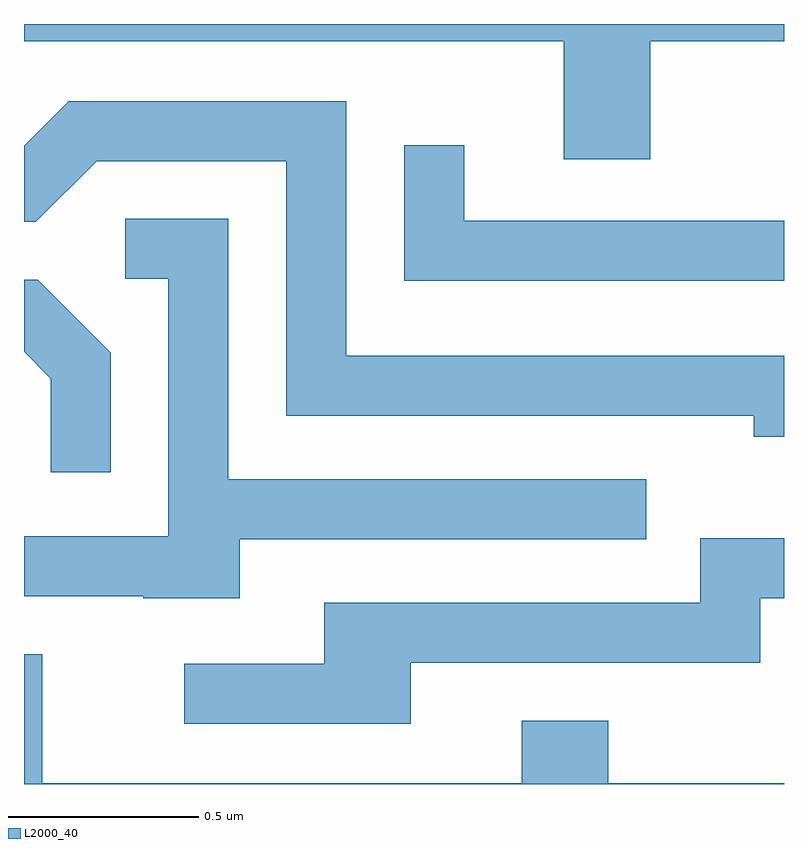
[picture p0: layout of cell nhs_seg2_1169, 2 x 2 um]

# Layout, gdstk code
import gdstk
lib = gdstk.Library(unit=1e-6, precision=1e-09)
def P(c, l, *ps):  # polygons
    for p in ps: c.add(gdstk.Polygon(p, *l))
L2000_40 = (2000, 40)

nhs_seg2_1169 = lib.new_cell('nhs_seg2_1169')
P(nhs_seg2_1169, L2000_40, [(195.259,1052.756),(195.611,1052.756),(195.611,1052.802),(193.611,1052.802),(193.611,1052.756),(195.031,1052.756),(195.031,1052.446),(195.259,1052.446)],
  [(195.611,1051.929),(194.459,1051.929),(194.459,1052.599),(193.729,1052.599),(193.611,1052.481),(193.611,1052.281),(193.642,1052.281),(193.802,1052.441),(194.301,1052.441),(194.301,1051.771),(195.531,1051.771),(195.531,1051.716),(195.611,1051.716)],
  [(195.611,1052.284),(194.769,1052.284),(194.769,1052.483),(194.611,1052.483),(194.611,1052.126),(195.611,1052.126)],
  [(194.179,1051.446),(195.248,1051.446),(195.248,1051.604),(194.149,1051.604),(194.149,1052.289),(193.878,1052.289),(193.878,1052.131),(193.991,1052.131),(193.991,1051.454),(193.611,1051.454),(193.611,1051.296),(193.925,1051.296),(193.925,1051.291),(194.179,1051.291)],
  [(193.839,1051.937),(193.647,1052.129),(193.611,1052.129),(193.611,1051.939),(193.681,1051.869),(193.681,1051.623),(193.839,1051.623)],
  [(194.629,1051.121),(195.549,1051.121),(195.549,1051.291),(195.611,1051.291),(195.611,1051.449),(195.391,1051.449),(195.391,1051.279),(194.401,1051.279),(194.401,1051.119),(194.033,1051.119),(194.033,1050.961),(194.629,1050.961)],
  [(195.611,1050.804),(195.149,1050.804),(195.149,1050.969),(194.921,1050.969),(194.921,1050.804),(193.659,1050.804),(193.659,1051.144),(193.611,1051.144),(193.611,1050.802),(195.611,1050.802)])

lib.write_gds('nhs_seg2_1169.gds')
